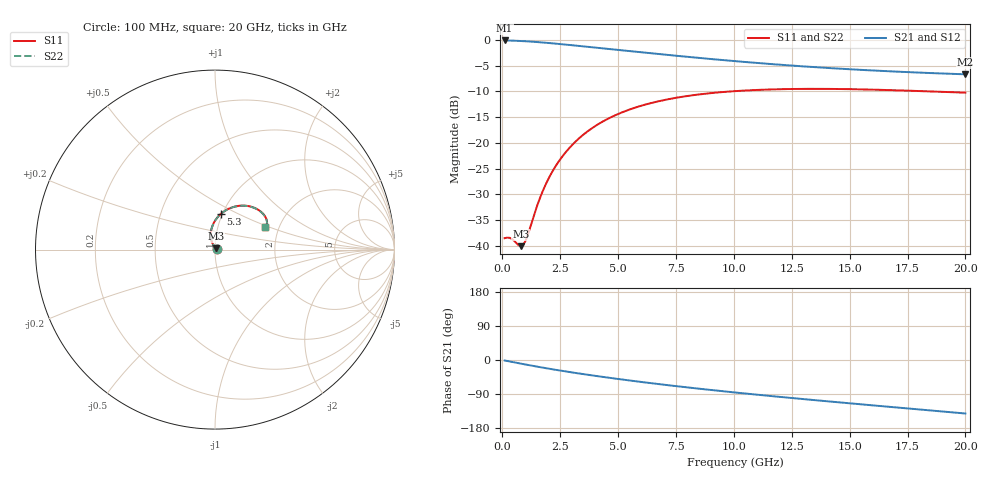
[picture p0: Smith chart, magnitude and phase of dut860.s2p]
! Touchstone file exported from HFSS 2024.1.0
!  File:  C:/UserFiles/LocalFiles/RDL_TSV_Batchsim/temp_RDL_TSV_860_1779924836.aedt
!  Generated:  07:48:27 AM May 28, 2026
!  Design:  RDL_TSV
!  Project:  temp_RDL_TSV_860_1779924836
!  Setup:  Setup1
!  Solution:  Sweep
! Variables:
!  dtsv = 6.87um
!  hbump = 3um
!  htsv = 77.28um
!  ldown = 317.26um
!  lrdl = 209.34um
!  p = 40
!  p1 = 47.56um
!  rhole = 10um
!  subl = 1789.14um
!  t = 450um
!  tdown = 2.75um
!  trdl = 3.58um
!  viad = 10um
!  wdown = 28.99um
!  wrdl = 13.4um
!  xbump = 18um
# GHz S MA R 50.000000
! Terminal data exported
! Port[1] = TM1_1_T1
! Port[2] = TM1_4_T1
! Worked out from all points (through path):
!   200 points, 100 MHz to 20 GHz, reference 50 ohm
!   highest |S21| = -0.11 dB at 100 MHz (marker M1); lowest = -6.7 dB at 20 GHz (marker M2)
!   group delay of S21, straight-line fit = 18.6 ps
!   lowest |S11| = -40.1 dB at 800 MHz (marker M3), VSWR 1.02, Z = 50.6 + j0.772 ohm
!   |S11| at or under -10 dB: start of sweep to 9.878 GHz; 18.46 GHz to end of sweep
!   |S22| runs from -40.1 to -9.5 dB; largest |S21 - S12| = 9.7e-15
!   S11 on the Smith chart (normalised r, x): 100 MHz: 1.02, +0.00; 5.3 GHz: 0.99, +0.41; 20 GHz: 1.69, +0.48
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0.1  0.01188 5.5  0.9879 -1.2  0.9879 -1.2  0.01188 5.5
! Gamma 0 0 0 0
! Port Impedance 50 0 50 0
0.4  0.01174 18.3  0.9843 -4.9  0.9843 -4.9  0.01174 18.3
0.8  0.009934 50.1  0.9761 -9.6  0.9761 -9.6  0.009939 50.1
0.9  0.0102 62.9  0.9735 -10.7  0.9735 -10.7  0.0102 62.9
1  0.01113 75.6  0.9707 -11.9  0.9707 -11.9  0.01113 75.5
1.1  0.01275 86.5  0.9677 -13.0  0.9677 -13.0  0.01275 86.4
1.6  0.02809 110.1  0.95 -18.6  0.95 -18.6  0.02806 110.1
1.8  0.03625 112.0  0.9419 -20.7  0.9419 -20.7  0.03621 111.9
2.1  0.04972 111.9  0.9292 -23.8  0.9292 -23.8  0.04966 111.9
2.4  0.06419 110.1  0.9159 -26.9  0.9159 -26.9  0.06411 110.0
2.7  0.07925 107.4  0.9023 -29.8  0.9023 -29.8  0.07915 107.4
3.1  0.09975 103.3  0.884 -33.6  0.884 -33.6  0.09962 103.3
3.5  0.1202 99.0  0.8658 -37.3  0.8658 -37.3  0.12 98.9
4.3  0.1594 90.3  0.8299 -44.3  0.8299 -44.3  0.1592 90.3
5.3  0.2031 80.4  0.7871 -52.5  0.7871 -52.5  0.2028 80.3
6.8  0.2552 67.6  0.7277 -63.9  0.7277 -63.9  0.2547 67.5
8.3  0.2917 57.2  0.6749 -74.4  0.6749 -74.4  0.2912 57.1
10.1  0.3187 47.2  0.6207 -86.0  0.6207 -86.0  0.3181 47.1
11.7  0.3309 40.2  0.5807 -95.7  0.5807 -95.7  0.3302 40.2
13.4  0.3349 34.4  0.5457 -105.4  0.5457 -105.4  0.3341 34.3
16.7  0.3258 27.1  0.496 -123.5  0.496 -123.5  0.3249 27.0
20  0.3075 24.7  0.4633 -141.2  0.4633 -141.2  0.3065 24.7
